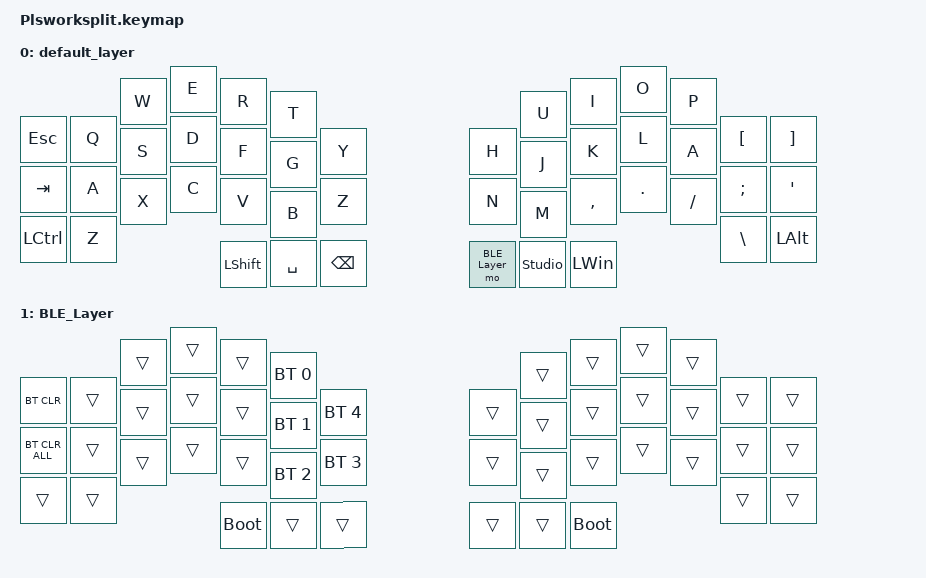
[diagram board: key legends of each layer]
#include <behaviors.dtsi>
#include <dt-bindings/zmk/keys.h>
#include <dt-bindings/zmk/bt.h>

#define BLE_Layer 1

/ {
    keymap {
        compatible = "zmk,keymap";

        default_layer {
            bindings = <
                
                &kp ESC   &kp Q  &kp W  &kp E  &kp R       &kp T                                   &kp U           &kp I      &kp O       &kp P     &kp LBKT &kp RBKT   
                &kp TAB   &kp A  &kp S  &kp D  &kp F       &kp G      &kp Y                   &kp H          &kp J           &kp K      &kp L       &kp A     &kp SEMI &kp APOS      
                &kp LCTRL &kp Z  &kp X  &kp C  &kp V       &kp B      &kp Z                   &kp N          &kp M           &kp COMMA  &kp PERIOD  &kp FSLH  &kp BSLH &kp LALT
                                               &kp LSHIFT  &kp SPACE  &kp BACKSPACE           &mo BLE_Layer  &studio_unlock  &kp LWIN   
            >;
        };

        BLE_Layer {
            bindings = <
                &bt BT_CLR      &trans  &trans  &trans  &trans       &bt BT_SEL 0                    &trans  &trans       &trans  &trans  &trans  &trans    
                &bt BT_CLR_ALL  &trans  &trans  &trans  &trans       &bt BT_SEL 1  &bt BT_SEL 4           &trans  &trans  &trans       &trans  &trans  &trans  &trans
                &trans          &trans  &trans  &trans  &trans       &bt BT_SEL 2  &bt BT_SEL 3           &trans  &trans  &trans       &trans  &trans  &trans  &trans
                 &bootloader  &trans        &trans                 &trans  &trans  &bootloader  
            
            >;

        };
    };
};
